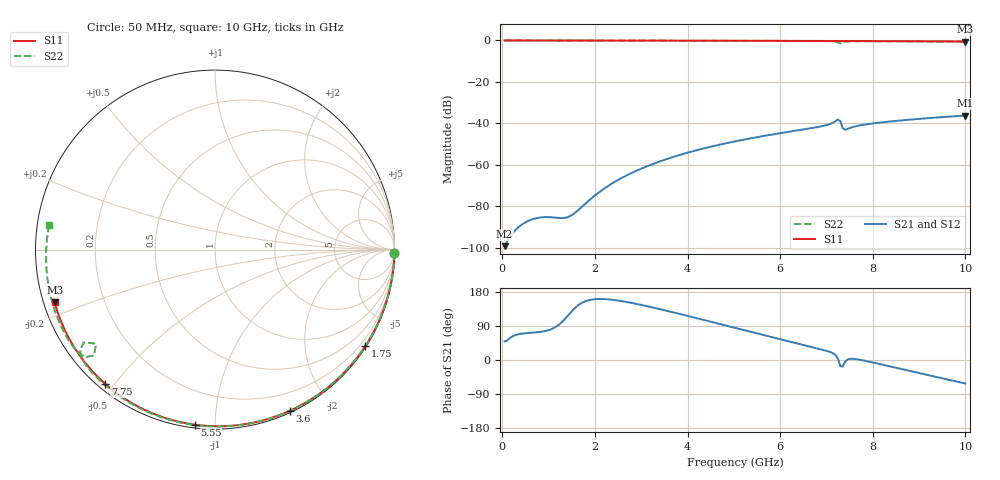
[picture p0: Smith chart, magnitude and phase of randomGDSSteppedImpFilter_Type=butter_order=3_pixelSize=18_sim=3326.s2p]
! freq	dB(S11)	phase(S11)	dB(S12)	phase(S12)
!  dB(S21)	phase(S21)	dB(S22)	phase(S22)
!S-par simulation data
#  GHz  S  DB  R 50
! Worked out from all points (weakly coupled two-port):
!   200 points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, 50 MHz to 10 GHz, reference 50 ohm
!   highest |S21| = -36.17 dB at 10 GHz (marker M1); lowest = -99.2 dB at 50 MHz (marker M2)
!   lowest |S11| = -0.5 dB at 10 GHz (marker M3), VSWR 32.58, Z = 1.57 - j8 ohm
!   |S11| at or under -10 dB: nowhere
!   |S22| runs from -1.5 to 0.0 dB; largest |S21 - S12| = 0
!   S11 on the Smith chart (normalised r, x): 50 MHz: open; 1.75 GHz: 0.03, -3.41; 3.6 GHz: 0.02, -1.56; 5.55 GHz: 0.02, -0.89; 7.75 GHz: 0.02, -0.47; 10 GHz: 0.03, -0.16
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0.05  -0.00 -1.0  -99.15 49.1  -99.15 49.1  -0.00 -1.1
0.85  -0.02 -16.0  -85.25 74.6  -85.25 74.6  -0.02 -18.8
1.7  -0.04 -31.7  -80.56 149.5  -80.56 149.5  -0.05 -37.2
1.75  -0.04 -32.6  -79.54 152.7  -79.54 152.7  -0.05 -38.3
2.1  -0.05 -39.0  -73.00 161.0  -73.00 161.0  -0.06 -45.6
2.45  -0.06 -45.2  -67.88 157.8  -67.88 157.8  -0.07 -52.9
2.9  -0.07 -53.2  -62.76 148.0  -62.76 148.0  -0.08 -62.1
3.4  -0.08 -61.8  -58.32 134.3  -58.32 134.3  -0.09 -72.0
3.6  -0.09 -65.2  -56.80 128.5  -56.80 128.5  -0.10 -75.9
4.3  -0.11 -76.8  -52.31 107.2  -52.31 107.2  -0.13 -89.2
5.05  -0.14 -88.8  -48.53 84.1  -48.53 84.1  -0.16 -103.0
5.55  -0.16 -96.6  -46.41 68.6  -46.41 68.6  -0.18 -111.9
6.7  -0.22 -114.0  -42.17 33.5  -42.17 33.5  -0.26 -132.2
7.05  -0.24 -119.1  -40.47 22.2  -40.47 22.2  -0.33 -139.1
7.25  -0.26 -122.0  -38.08 2.5  -38.08 2.5  -0.96 -144.8
7.3  -0.26 -122.8  -38.94 -16.0  -38.94 -16.0  -1.47 -141.6
7.35  -0.27 -123.5  -42.24 -17.2  -42.24 -17.2  -0.96 -138.8
7.4  -0.27 -124.2  -43.09 -5.0  -43.09 -5.0  -0.61 -140.1
7.75  -0.30 -129.3  -40.82 0.0  -40.82 0.0  -0.36 -148.3
8.35  -0.35 -137.9  -39.11 -16.3  -39.11 -16.3  -0.40 -159.0
9.2  -0.44 -150.1  -37.44 -40.2  -37.44 -40.2  -0.49 -173.9
10  -0.53 -161.8  -36.17 -62.0  -36.17 -62.0  -0.59 171.7
